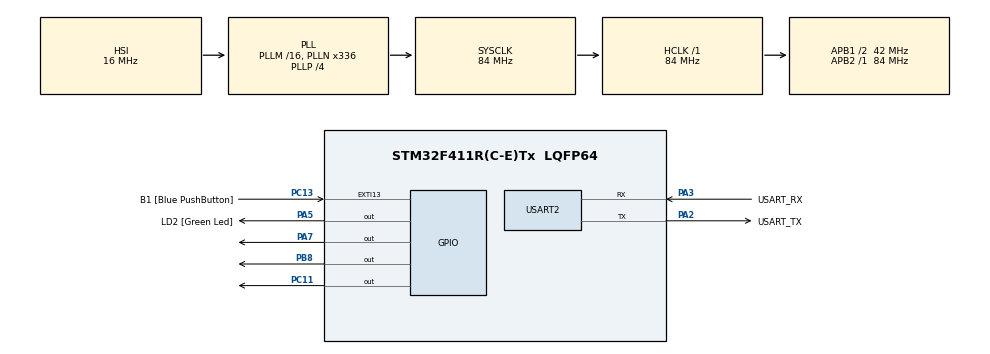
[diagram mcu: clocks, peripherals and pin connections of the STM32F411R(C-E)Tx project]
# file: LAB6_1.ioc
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FREERTOS.Tasks01=defaultTask,0,128,StartDefaultTask,Default,NULL,Dynamic,NULL,NULL
Mcu.Family=STM32F4
Mcu.Name=STM32F411R(C-E)Tx
Mcu.Package=LQFP64
NVIC.PriorityGroup=NVIC_PRIORITYGROUP_4
PA13.GPIO_Label=TMS
PA13.Mode=Serial_Wire
PA13.Signal=SYS_JTMS-SWDIO
PA14.GPIO_Label=TCK
PA14.Mode=Serial_Wire
PA14.Signal=SYS_JTCK-SWCLK
PA2.GPIO_Label=USART_TX
PA2.Mode=Asynchronous
PA2.Signal=USART2_TX
PA3.GPIO_Label=USART_RX
PA3.Mode=Asynchronous
PA3.Signal=USART2_RX
PA5.GPIO_Label=LD2 [Green Led]
PA5.Signal=GPIO_Output
PA7.Signal=GPIO_Output
PB3.GPIO_Label=SWO
PB3.Signal=SYS_JTDO-SWO
PB8.Signal=GPIO_Output
PC11.Signal=GPIO_Output
PC13-ANTI_TAMP.GPIO_Label=B1 [Blue PushButton]
PC13-ANTI_TAMP.GPIO_ModeDefaultEXTI=GPIO_MODE_IT_FALLING
PC13-ANTI_TAMP.Signal=GPXTI13
PC14-OSC32_IN.Mode=LSE-External-Oscillator
PC14-OSC32_IN.Signal=RCC_OSC32_IN
PC15-OSC32_OUT.Mode=LSE-External-Oscillator
PC15-OSC32_OUT.Signal=RCC_OSC32_OUT
PH0\ -\ OSC_IN.Mode=HSE-External-Clock-Source
PH0\ -\ OSC_IN.Signal=RCC_OSC_IN
PH1\ -\ OSC_OUT.Mode=HSE-External-Clock-Source
PH1\ -\ OSC_OUT.Signal=RCC_OSC_OUT
ProjectManager.HeapSize=0x200
ProjectManager.StackSize=0x400
ProjectManager.TargetToolchain=STM32CubeIDE
RCC.48MHZClocksFreq_Value=84000000
RCC.AHBFreq_Value=84000000
RCC.APB1CLKDivider=RCC_HCLK_DIV2
RCC.APB1Freq_Value=42000000
RCC.APB1TimFreq_Value=84000000
RCC.APB2Freq_Value=84000000
RCC.APB2TimFreq_Value=84000000
RCC.CortexFreq_Value=84000000
RCC.FLatency-AdvancedSettings=FLASH_LATENCY_2
RCC.HCLKFreq_Value=84000000
RCC.HSE_VALUE=8000000
RCC.HSI_VALUE=16000000
RCC.PLLN=336
RCC.PLLP=RCC_PLLP_DIV4
RCC.SYSCLKFreq_VALUE=84000000
RCC.SYSCLKSource=RCC_SYSCLKSOURCE_PLLCLK
RCC.VCOOutputFreq_Value=336000000
USART2.VirtualMode=VM_ASYNC
VP_FREERTOS_VS_CMSIS_V1.Mode=CMSIS_V1
board=NUCLEO-F411RE

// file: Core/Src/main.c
/* USER CODE BEGIN Header */
/**
  ******************************************************************************
  * @file           : main.c
  * @brief          : Main program body
  ******************************************************************************
  * @attention
  *
  * Copyright (c) 2023 STMicroelectronics.
  * All rights reserved.
  *
  * This software is licensed under terms that can be found in the LICENSE file
  * in the root directory of this software component.
  * If no LICENSE file comes with this software, it is provided AS-IS.
  *
  ******************************************************************************
  */
/* USER CODE END Header */
#include "main.h"
#include "cmsis_os.h"

UART_HandleTypeDef huart2;

osThreadId defaultTaskHandle;

void SystemClock_Config(void);
static void MX_GPIO_Init(void);
static void MX_USART2_UART_Init(void);
void StartDefaultTask(void const * argument);

int main(void)
{

  /* MCU Configuration--------------------------------------------------------*/

  /* Reset of all peripherals, Initializes the Flash interface and the Systick. */
  HAL_Init();

  /* Configure the system clock */
  SystemClock_Config();

  /* Initialize all configured peripherals */
  MX_GPIO_Init();
  MX_USART2_UART_Init();

  /* Create the thread(s) */
  /* definition and creation of defaultTask */
  osThreadDef(defaultTask, StartDefaultTask, osPriorityNormal, 0, 128);
  defaultTaskHandle = osThreadCreate(osThread(defaultTask), NULL);

  /* Start scheduler */
  osKernelStart();
  /* We should never get here as control is now taken by the scheduler */
  /* Infinite loop */
  while (1)
  {

  }
}

void SystemClock_Config(void)
{
  RCC_OscInitTypeDef RCC_OscInitStruct = {0};
  RCC_ClkInitTypeDef RCC_ClkInitStruct = {0};

  /** Configure the main internal regulator output voltage
  */
  __HAL_RCC_PWR_CLK_ENABLE();
  __HAL_PWR_VOLTAGESCALING_CONFIG(PWR_REGULATOR_VOLTAGE_SCALE1);

  /** Initializes the RCC Oscillators according to the specified parameters
  * in the RCC_OscInitTypeDef structure.
  */
  RCC_OscInitStruct.OscillatorType = RCC_OSCILLATORTYPE_HSI;
  RCC_OscInitStruct.HSIState = RCC_HSI_ON;
  RCC_OscInitStruct.HSICalibrationValue = RCC_HSICALIBRATION_DEFAULT;
  RCC_OscInitStruct.PLL.PLLState = RCC_PLL_ON;
  RCC_OscInitStruct.PLL.PLLSource = RCC_PLLSOURCE_HSI;
  RCC_OscInitStruct.PLL.PLLM = 16;
  RCC_OscInitStruct.PLL.PLLN = 336;
  RCC_OscInitStruct.PLL.PLLP = RCC_PLLP_DIV4;
  RCC_OscInitStruct.PLL.PLLQ = 4;
  if (HAL_RCC_OscConfig(&RCC_OscInitStruct) != HAL_OK)
  {
    Error_Handler();
  }

  /** Initializes the CPU, AHB and APB buses clocks
  */
  RCC_ClkInitStruct.ClockType = RCC_CLOCKTYPE_HCLK|RCC_CLOCKTYPE_SYSCLK
                              |RCC_CLOCKTYPE_PCLK1|RCC_CLOCKTYPE_PCLK2;
  RCC_ClkInitStruct.SYSCLKSource = RCC_SYSCLKSOURCE_PLLCLK;
  RCC_ClkInitStruct.AHBCLKDivider = RCC_SYSCLK_DIV1;
  RCC_ClkInitStruct.APB1CLKDivider = RCC_HCLK_DIV2;
  RCC_ClkInitStruct.APB2CLKDivider = RCC_HCLK_DIV1;

  if (HAL_RCC_ClockConfig(&RCC_ClkInitStruct, FLASH_LATENCY_2) != HAL_OK)
  {
    Error_Handler();
  }
}

static void MX_USART2_UART_Init(void)
{

  huart2.Instance = USART2;
  huart2.Init.BaudRate = 115200;
  huart2.Init.WordLength = UART_WORDLENGTH_8B;
  huart2.Init.StopBits = UART_STOPBITS_1;
  huart2.Init.Parity = UART_PARITY_NONE;
  huart2.Init.Mode = UART_MODE_TX_RX;
  huart2.Init.HwFlowCtl = UART_HWCONTROL_NONE;
  huart2.Init.OverSampling = UART_OVERSAMPLING_16;
  if (HAL_UART_Init(&huart2) != HAL_OK)
  {
    Error_Handler();
  }

}

static void MX_GPIO_Init(void)
{
  GPIO_InitTypeDef GPIO_InitStruct = {0};

  /* GPIO Ports Clock Enable */
  __HAL_RCC_GPIOC_CLK_ENABLE();
  __HAL_RCC_GPIOH_CLK_ENABLE();
  __HAL_RCC_GPIOA_CLK_ENABLE();
  __HAL_RCC_GPIOB_CLK_ENABLE();

  /*Configure GPIO pin Output Level */
  HAL_GPIO_WritePin(GPIOA, LD2_Pin|GPIO_PIN_7, GPIO_PIN_RESET);

  /*Configure GPIO pin Output Level */
  HAL_GPIO_WritePin(GPIOC, GPIO_PIN_11, GPIO_PIN_RESET);

  /*Configure GPIO pin Output Level */
  HAL_GPIO_WritePin(GPIOB, GPIO_PIN_8, GPIO_PIN_RESET);

  /*Configure GPIO pin : B1_Pin */
  GPIO_InitStruct.Pin = B1_Pin;
  GPIO_InitStruct.Mode = GPIO_MODE_IT_FALLING;
  GPIO_InitStruct.Pull = GPIO_NOPULL;
  HAL_GPIO_Init(B1_GPIO_Port, &GPIO_InitStruct);

  /*Configure GPIO pins : LD2_Pin PA7 */
  GPIO_InitStruct.Pin = LD2_Pin|GPIO_PIN_7;
  GPIO_InitStruct.Mode = GPIO_MODE_OUTPUT_PP;
  GPIO_InitStruct.Pull = GPIO_NOPULL;
  GPIO_InitStruct.Speed = GPIO_SPEED_FREQ_LOW;
  HAL_GPIO_Init(GPIOA, &GPIO_InitStruct);

  /*Configure GPIO pin : PC11 */
  GPIO_InitStruct.Pin = GPIO_PIN_11;
  GPIO_InitStruct.Mode = GPIO_MODE_OUTPUT_PP;
  GPIO_InitStruct.Pull = GPIO_NOPULL;
  GPIO_InitStruct.Speed = GPIO_SPEED_FREQ_LOW;
  HAL_GPIO_Init(GPIOC, &GPIO_InitStruct);

  /*Configure GPIO pin : PB8 */
  GPIO_InitStruct.Pin = GPIO_PIN_8;
  GPIO_InitStruct.Mode = GPIO_MODE_OUTPUT_PP;
  GPIO_InitStruct.Pull = GPIO_NOPULL;
  GPIO_InitStruct.Speed = GPIO_SPEED_FREQ_LOW;
  HAL_GPIO_Init(GPIOB, &GPIO_InitStruct);

}

/* USER CODE BEGIN 4 */
void led_thread_1(void const *args){
	while(1){
		HAL_GPIO_TogglePin(GPIOA, GPIO_PIN_5);
		osDelay(50);
	}
}
void led_thread_2(void const *args){
	while(1){
		HAL_GPIO_TogglePin(GPIOA, GPIO_PIN_7);
		osDelay(18);
	}
}
void led_thread_3(void const *args){
	while(1){
		HAL_GPIO_TogglePin(GPIOB, GPIO_PIN_8);
		osDelay(128);
	}
}
void led_thread_4(void const *args){
	while(1){
		HAL_GPIO_TogglePin(GPIOC, GPIO_PIN_11);
		osDelay(64);
	}
}
/* USER CODE END 4 */

void StartDefaultTask(void const * argument)
{
  /* USER CODE BEGIN 5 */
	osThreadDef(led_1, led_thread_1, osPriorityNormal, 0,128);
	osThreadId ledTaskHandle_1 = osThreadCreate(osThread(led_1), NULL);
	osThreadDef(led_2, led_thread_2, osPriorityNormal, 0,128);
	osThreadId ledTaskHandle_2 = osThreadCreate(osThread(led_2), NULL);
	osThreadDef(led_3, led_thread_3, osPriorityNormal, 0,128);
	osThreadId ledTaskHandle_3 = osThreadCreate(osThread(led_3), NULL);
	osThreadDef(led_4, led_thread_4, osPriorityNormal, 0,128);
	osThreadId ledTaskHandle_4 = osThreadCreate(osThread(led_4), NULL);
  /* Infinite loop */
  for(;;)
  {
    osDelay(1);
  }
  /* USER CODE END 5 */
}

void Error_Handler(void)
{
  __disable_irq();
  while (1)
  {
  }
}
